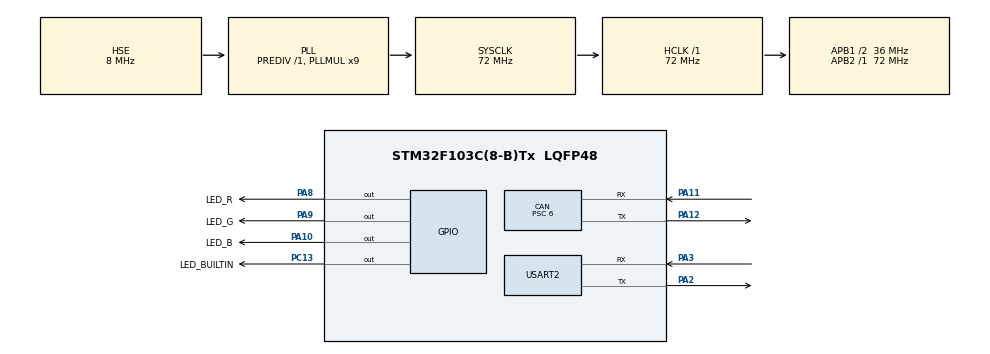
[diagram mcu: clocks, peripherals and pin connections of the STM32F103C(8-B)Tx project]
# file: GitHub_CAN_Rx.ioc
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CAN.ABOM=ENABLE
CAN.BS1=CAN_BS1_5TQ
CAN.BS2=CAN_BS2_6TQ
CAN.CalculateBaudRate=500000
CAN.CalculateTimeBit=1999.99
CAN.CalculateTimeQuantum=166.66666666666669
CAN.NART=ENABLE
CAN.Prescaler=6
Dma.Request0=USART2_TX
Dma.Request1=USART2_RX
Dma.USART2_RX.1.Direction=DMA_PERIPH_TO_MEMORY
Dma.USART2_RX.1.Instance=DMA1_Channel6
Dma.USART2_RX.1.MemDataAlignment=DMA_MDATAALIGN_BYTE
Dma.USART2_RX.1.MemInc=DMA_MINC_ENABLE
Dma.USART2_RX.1.Mode=DMA_NORMAL
Dma.USART2_RX.1.PeriphDataAlignment=DMA_PDATAALIGN_BYTE
Dma.USART2_RX.1.PeriphInc=DMA_PINC_DISABLE
Dma.USART2_RX.1.Priority=DMA_PRIORITY_LOW
Dma.USART2_TX.0.Direction=DMA_MEMORY_TO_PERIPH
Dma.USART2_TX.0.Instance=DMA1_Channel7
Dma.USART2_TX.0.MemDataAlignment=DMA_MDATAALIGN_BYTE
Dma.USART2_TX.0.MemInc=DMA_MINC_ENABLE
Dma.USART2_TX.0.Mode=DMA_NORMAL
Dma.USART2_TX.0.PeriphDataAlignment=DMA_PDATAALIGN_BYTE
Dma.USART2_TX.0.PeriphInc=DMA_PINC_DISABLE
Dma.USART2_TX.0.Priority=DMA_PRIORITY_LOW
Mcu.Family=STM32F1
Mcu.Name=STM32F103C(8-B)Tx
Mcu.Package=LQFP48
NVIC.CAN1_RX1_IRQn=true\:0\:0\:false\:false\:true\:true\:true
NVIC.CAN1_SCE_IRQn=true\:0\:0\:false\:false\:true\:true\:true
NVIC.DMA1_Channel6_IRQn=true\:0\:0\:false\:false\:true\:true\:true
NVIC.DMA1_Channel7_IRQn=true\:0\:0\:false\:false\:true\:true\:true
NVIC.PriorityGroup=NVIC_PRIORITYGROUP_4
NVIC.TIM4_IRQn=true\:0\:0\:false\:false\:true\:true\:true
NVIC.TimeBase=TIM4_IRQn
NVIC.TimeBaseIP=TIM4
NVIC.USART2_IRQn=true\:0\:0\:false\:false\:true\:true\:true
NVIC.USB_LP_CAN1_RX0_IRQn=true\:0\:0\:false\:false\:true\:true\:true
PA10.GPIO_Label=LED_B
PA10.PinState=GPIO_PIN_RESET
PA10.Signal=GPIO_Output
PA11.Mode=CAN_Activate
PA11.Signal=CAN_RX
PA12.Mode=CAN_Activate
PA12.Signal=CAN_TX
PA13.Mode=Serial_Wire
PA13.Signal=SYS_JTMS-SWDIO
PA14.Mode=Serial_Wire
PA14.Signal=SYS_JTCK-SWCLK
PA2.Mode=Asynchronous
PA2.Signal=USART2_TX
PA3.Mode=Asynchronous
PA3.Signal=USART2_RX
PA8.GPIO_Label=LED_R
PA8.PinState=GPIO_PIN_RESET
PA8.Signal=GPIO_Output
PA9.GPIO_Label=LED_G
PA9.PinState=GPIO_PIN_RESET
PA9.Signal=GPIO_Output
PC13-TAMPER-RTC.GPIO_Label=LED_BUILTIN
PC13-TAMPER-RTC.PinState=GPIO_PIN_SET
PC13-TAMPER-RTC.Signal=GPIO_Output
PC14-OSC32_IN.Mode=LSE-External-Oscillator
PC14-OSC32_IN.Signal=RCC_OSC32_IN
PC15-OSC32_OUT.Mode=LSE-External-Oscillator
PC15-OSC32_OUT.Signal=RCC_OSC32_OUT
PD0-OSC_IN.Mode=HSE-External-Oscillator
PD0-OSC_IN.Signal=RCC_OSC_IN
PD1-OSC_OUT.Mode=HSE-External-Oscillator
PD1-OSC_OUT.Signal=RCC_OSC_OUT
ProjectManager.HeapSize=0x200
ProjectManager.StackSize=0x400
ProjectManager.TargetToolchain=STM32CubeIDE
RCC.ADCPresc=RCC_ADCPCLK2_DIV6
RCC.AHBFreq_Value=72000000
RCC.APB1CLKDivider=RCC_HCLK_DIV2
RCC.APB1Freq_Value=36000000
RCC.APB1TimFreq_Value=72000000
RCC.APB2Freq_Value=72000000
RCC.APB2TimFreq_Value=72000000
RCC.EnbaleCSS=true
RCC.HCLKFreq_Value=72000000
RCC.PLLMUL=RCC_PLL_MUL9
RCC.PLLSourceVirtual=RCC_PLLSOURCE_HSE
RCC.SYSCLKFreq_VALUE=72000000
RCC.SYSCLKSource=RCC_SYSCLKSOURCE_PLLCLK
RCC.USBFreq_Value=48000000
RCC.USBPrescaler=RCC_USBCLKSOURCE_PLL_DIV1_5
USART2.VirtualMode=VM_ASYNC
VP_CRC_VS_CRC.Mode=CRC_Activate
VP_SYS_VS_tim4.Mode=TIM4
board=cubemx_can

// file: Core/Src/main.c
/* USER CODE BEGIN Header */
/**
 ******************************************************************************
 * @file           : main.c
 * @brief          : Main program body
 ******************************************************************************
 * @attention
 *
 * <h2><center>&copy; Copyright (c) 2021 STMicroelectronics.
 * All rights reserved.</center></h2>
 *
 * This software component is licensed by ST under BSD 3-Clause license,
 * the "License"; You may not use this file except in compliance with the
 * License. You may obtain a copy of the License at:
 *                        opensource.org/licenses/BSD-3-Clause
 *
 ******************************************************************************
 */
/* USER CODE END Header */
#include "main.h"

CAN_HandleTypeDef hcan;

CRC_HandleTypeDef hcrc;

UART_HandleTypeDef huart2;
DMA_HandleTypeDef hdma_usart2_tx;
DMA_HandleTypeDef hdma_usart2_rx;

void SystemClock_Config(void);
static void MX_GPIO_Init(void);
static void MX_DMA_Init(void);
static void MX_CAN_Init(void);
static void MX_CRC_Init(void);
static void MX_USART2_UART_Init(void);

/* USER CODE BEGIN 0 */
void HAL_CAN_RxFifo0MsgPendingCallback(CAN_HandleTypeDef *CanHandle)
{
	CAN_RxHeaderTypeDef rx_header;
	uint8_t rx_data[8];

	// read received message
	HAL_CAN_GetRxMessage(CanHandle, CAN_RX_FIFO0, &rx_header, rx_data);

	if ((rx_header.StdId == 0x545U) && (rx_header.IDE == CAN_ID_STD) && (rx_header.DLC == 5U))
	{
		HAL_GPIO_WritePin(LED_BUILTIN_GPIO_Port, LED_BUILTIN_Pin, rx_data[0]);
	}
}
/* USER CODE END 0 */

int main(void)
{

	/* MCU Configuration--------------------------------------------------------*/

	/* Reset of all peripherals, Initializes the Flash interface and the Systick. */
	HAL_Init();

	/* Configure the system clock */
	SystemClock_Config();

	/* Initialize all configured peripherals */
	MX_GPIO_Init();
	MX_DMA_Init();
	MX_CAN_Init();
	MX_CRC_Init();
	MX_USART2_UART_Init();
	/* USER CODE BEGIN 2 */

	/* Configure the CAN Filter */
	CAN_FilterTypeDef sFilterConfig;
	sFilterConfig.FilterBank = 0U;
	sFilterConfig.FilterMode = CAN_FILTERMODE_IDMASK;
	sFilterConfig.FilterScale = CAN_FILTERSCALE_32BIT;
	sFilterConfig.FilterIdHigh = 0x0000U;
	sFilterConfig.FilterIdLow = 0x0000U;
	sFilterConfig.FilterMaskIdHigh = 0x0000U;
	sFilterConfig.FilterMaskIdLow = 0x0000U;
	sFilterConfig.FilterFIFOAssignment = CAN_RX_FIFO0;
	sFilterConfig.FilterActivation = ENABLE;
	HAL_CAN_ConfigFilter(&hcan, &sFilterConfig);

	// set up receive notification
	HAL_CAN_ActivateNotification(&hcan, CAN_IT_RX_FIFO0_MSG_PENDING);

	// start can
	HAL_CAN_Start(&hcan);

	/* USER CODE END 2 */

	/* Infinite loop */
	while (1)
	{

	}
}

void SystemClock_Config(void)
{
	RCC_OscInitTypeDef RCC_OscInitStruct = {0};
	RCC_ClkInitTypeDef RCC_ClkInitStruct = {0};

	/** Initializes the RCC Oscillators according to the specified parameters
	 * in the RCC_OscInitTypeDef structure.
	 */
	RCC_OscInitStruct.OscillatorType = RCC_OSCILLATORTYPE_HSE;
	RCC_OscInitStruct.HSEState = RCC_HSE_ON;
	RCC_OscInitStruct.HSEPredivValue = RCC_HSE_PREDIV_DIV1;
	RCC_OscInitStruct.HSIState = RCC_HSI_ON;
	RCC_OscInitStruct.PLL.PLLState = RCC_PLL_ON;
	RCC_OscInitStruct.PLL.PLLSource = RCC_PLLSOURCE_HSE;
	RCC_OscInitStruct.PLL.PLLMUL = RCC_PLL_MUL9;
	if (HAL_RCC_OscConfig(&RCC_OscInitStruct) != HAL_OK)
	{
		Error_Handler();
	}
	/** Initializes the CPU, AHB and APB buses clocks
	 */
	RCC_ClkInitStruct.ClockType = RCC_CLOCKTYPE_HCLK|RCC_CLOCKTYPE_SYSCLK
			|RCC_CLOCKTYPE_PCLK1|RCC_CLOCKTYPE_PCLK2;
	RCC_ClkInitStruct.SYSCLKSource = RCC_SYSCLKSOURCE_PLLCLK;
	RCC_ClkInitStruct.AHBCLKDivider = RCC_SYSCLK_DIV1;
	RCC_ClkInitStruct.APB1CLKDivider = RCC_HCLK_DIV2;
	RCC_ClkInitStruct.APB2CLKDivider = RCC_HCLK_DIV1;

	if (HAL_RCC_ClockConfig(&RCC_ClkInitStruct, FLASH_LATENCY_2) != HAL_OK)
	{
		Error_Handler();
	}
	/** Enables the Clock Security System
	 */
	HAL_RCC_EnableCSS();
}

static void MX_CAN_Init(void)
{

	hcan.Instance = CAN1;
	hcan.Init.Prescaler = 6;
	hcan.Init.Mode = CAN_MODE_NORMAL;
	hcan.Init.SyncJumpWidth = CAN_SJW_1TQ;
	hcan.Init.TimeSeg1 = CAN_BS1_5TQ;
	hcan.Init.TimeSeg2 = CAN_BS2_6TQ;
	hcan.Init.TimeTriggeredMode = DISABLE;
	hcan.Init.AutoBusOff = ENABLE;
	hcan.Init.AutoWakeUp = DISABLE;
	hcan.Init.AutoRetransmission = ENABLE;
	hcan.Init.ReceiveFifoLocked = DISABLE;
	hcan.Init.TransmitFifoPriority = DISABLE;
	if (HAL_CAN_Init(&hcan) != HAL_OK)
	{
		Error_Handler();
	}

}

static void MX_CRC_Init(void)
{

	hcrc.Instance = CRC;
	if (HAL_CRC_Init(&hcrc) != HAL_OK)
	{
		Error_Handler();
	}

}

static void MX_USART2_UART_Init(void)
{

	huart2.Instance = USART2;
	huart2.Init.BaudRate = 115200;
	huart2.Init.WordLength = UART_WORDLENGTH_8B;
	huart2.Init.StopBits = UART_STOPBITS_1;
	huart2.Init.Parity = UART_PARITY_NONE;
	huart2.Init.Mode = UART_MODE_TX_RX;
	huart2.Init.HwFlowCtl = UART_HWCONTROL_NONE;
	huart2.Init.OverSampling = UART_OVERSAMPLING_16;
	if (HAL_UART_Init(&huart2) != HAL_OK)
	{
		Error_Handler();
	}

}

static void MX_DMA_Init(void)
{

	/* DMA controller clock enable */
	__HAL_RCC_DMA1_CLK_ENABLE();

	/* DMA interrupt init */
	/* DMA1_Channel6_IRQn interrupt configuration */
	HAL_NVIC_SetPriority(DMA1_Channel6_IRQn, 0, 0);
	HAL_NVIC_EnableIRQ(DMA1_Channel6_IRQn);
	/* DMA1_Channel7_IRQn interrupt configuration */
	HAL_NVIC_SetPriority(DMA1_Channel7_IRQn, 0, 0);
	HAL_NVIC_EnableIRQ(DMA1_Channel7_IRQn);

}

static void MX_GPIO_Init(void)
{
	GPIO_InitTypeDef GPIO_InitStruct = {0};

	/* GPIO Ports Clock Enable */
	__HAL_RCC_GPIOC_CLK_ENABLE();
	__HAL_RCC_GPIOD_CLK_ENABLE();
	__HAL_RCC_GPIOA_CLK_ENABLE();

	/*Configure GPIO pin Output Level */
	HAL_GPIO_WritePin(LED_BUILTIN_GPIO_Port, LED_BUILTIN_Pin, GPIO_PIN_SET);

	/*Configure GPIO pin Output Level */
	HAL_GPIO_WritePin(GPIOA, LED_R_Pin|LED_G_Pin|LED_B_Pin, GPIO_PIN_RESET);

	/*Configure GPIO pin : LED_BUILTIN_Pin */
	GPIO_InitStruct.Pin = LED_BUILTIN_Pin;
	GPIO_InitStruct.Mode = GPIO_MODE_OUTPUT_PP;
	GPIO_InitStruct.Pull = GPIO_NOPULL;
	GPIO_InitStruct.Speed = GPIO_SPEED_FREQ_LOW;
	HAL_GPIO_Init(LED_BUILTIN_GPIO_Port, &GPIO_InitStruct);

	/*Configure GPIO pins : LED_R_Pin LED_G_Pin LED_B_Pin */
	GPIO_InitStruct.Pin = LED_R_Pin|LED_G_Pin|LED_B_Pin;
	GPIO_InitStruct.Mode = GPIO_MODE_OUTPUT_PP;
	GPIO_InitStruct.Pull = GPIO_NOPULL;
	GPIO_InitStruct.Speed = GPIO_SPEED_FREQ_LOW;
	HAL_GPIO_Init(GPIOA, &GPIO_InitStruct);

}

void HAL_TIM_PeriodElapsedCallback(TIM_HandleTypeDef *htim)
{
	if (htim->Instance == TIM4) {
		HAL_IncTick();
	}
}

void Error_Handler(void)
{
	__disable_irq();
	while (1)
	{
	}
}

/************************ (C) COPYRIGHT STMicroelectronics *****END OF FILE****/
